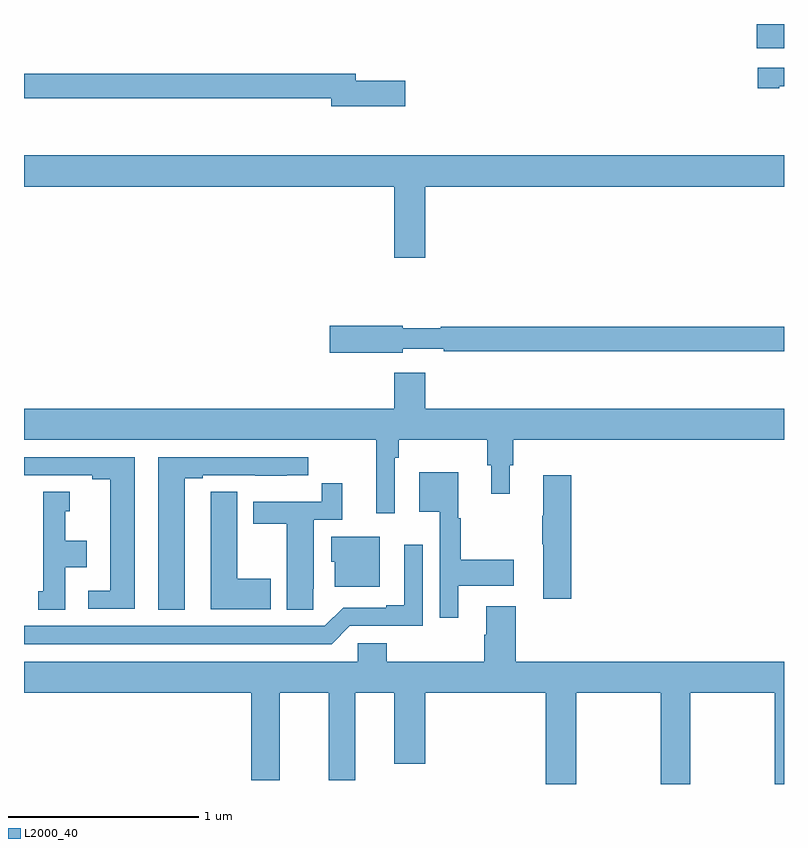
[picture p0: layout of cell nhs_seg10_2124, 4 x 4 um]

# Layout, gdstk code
import gdstk
lib = gdstk.Library(unit=1e-6, precision=1e-09)
def R(c, l, rs):  # rectangles x0, y0, x1, y1
    for r in rs: c.add(gdstk.rectangle(r[:2], r[2:], *l))
def P(c, l, *ps):  # polygons
    for p in ps: c.add(gdstk.Polygon(p, *l))
L2000_40 = (2000, 40)

nhs_seg10_2124 = lib.new_cell('nhs_seg10_2124')
R(nhs_seg10_2124, L2000_40, [(226.856,1306.373,227,1306.5)])
P(nhs_seg10_2124, L2000_40, [(226.975,1306.173),(227,1306.173),(227,1306.269),(226.863,1306.269),(226.863,1306.161),(226.975,1306.161)],
  [(225.007,1306.202),(224.746,1306.202),(224.746,1306.238),(223,1306.238),(223,1306.11),(224.618,1306.11),(224.618,1306.067),(225.007,1306.067)],
  [(225.112,1305.644),(227,1305.644),(227,1305.808),(223,1305.808),(223,1305.644),(224.948,1305.644),(224.948,1305.27),(225.112,1305.27)],
  [(224.994,1304.79),(225.208,1304.79),(225.208,1304.778),(227,1304.778),(227,1304.906),(225.194,1304.906),(225.194,1304.899),(224.994,1304.899),(224.994,1304.912),(224.61,1304.912),(224.61,1304.77),(224.994,1304.77)],
  [(224.952,1304.216),(224.972,1304.216),(224.972,1304.312),(225.439,1304.312),(225.439,1304.178),(225.458,1304.178),(225.458,1304.028),(225.556,1304.028),(225.556,1304.178),(225.575,1304.178),(225.575,1304.312),(227,1304.312),(227,1304.476),(225.112,1304.476),(225.112,1304.665),(224.948,1304.665),(224.948,1304.476),(223,1304.476),(223,1304.312),(224.855,1304.312),(224.855,1303.926),(224.952,1303.926)],
  [(223.582,1304.22),(223,1304.22),(223,1304.124),(223.358,1304.124),(223.358,1304.104),(223.454,1304.104),(223.454,1303.518),(223.338,1303.518),(223.338,1303.422),(223.582,1303.422)],
  [(223.846,1304.109),(223.942,1304.109),(223.942,1304.124),(224.218,1304.124),(224.218,1304.123),(224.384,1304.123),(224.384,1304.124),(224.497,1304.124),(224.497,1304.22),(223.706,1304.22),(223.706,1303.417),(223.846,1303.417)],
  [(225.286,1303.544),(225.577,1303.544),(225.577,1303.679),(225.298,1303.679),(225.298,1303.899),(225.286,1303.899),(225.286,1304.14),(225.08,1304.14),(225.08,1303.934),(225.189,1303.934),(225.189,1303.374),(225.286,1303.374)],
  [(225.881,1304.125),(225.734,1304.125),(225.734,1303.912),(225.727,1303.912),(225.727,1303.762),(225.734,1303.762),(225.734,1303.476),(225.881,1303.476)],
  [(224.523,1303.528),(224.524,1303.528),(224.524,1303.89),(224.675,1303.89),(224.675,1304.083),(224.566,1304.083),(224.566,1303.986),(224.207,1303.986),(224.207,1303.87),(224.384,1303.87),(224.384,1303.417),(224.523,1303.417)],
  [(224.299,1303.581),(224.122,1303.581),(224.122,1304.039),(223.983,1304.039),(223.983,1303.931),(223.982,1303.931),(223.982,1303.421),(224.299,1303.421)],
  [(223.216,1303.64),(223.33,1303.64),(223.33,1303.78),(223.216,1303.78),(223.216,1303.935),(223.24,1303.935),(223.24,1304.038),(223.1,1304.038),(223.1,1303.515),(223.076,1303.515),(223.076,1303.417),(223.216,1303.417)],
  [(224.872,1303.801),(224.618,1303.801),(224.618,1303.671),(224.636,1303.671),(224.636,1303.538),(224.872,1303.538)],
  [(224.715,1303.332),(225.099,1303.332),(225.099,1303.759),(225.002,1303.759),(225.002,1303.441),(224.906,1303.441),(224.906,1303.428),(224.679,1303.428),(224.583,1303.332),(223,1303.332),(223,1303.236),(224.619,1303.236)],
  [(225.906,1302.98),(226.351,1302.98),(226.351,1302.5),(226.506,1302.5),(226.506,1302.98),(226.951,1302.98),(226.951,1302.5),(227,1302.5),(227,1303.144),(225.587,1303.144),(225.587,1303.435),(225.434,1303.435),(225.434,1303.286),(225.422,1303.286),(225.422,1303.144),(224.909,1303.144),(224.909,1303.242),(224.757,1303.242),(224.757,1303.144),(223,1303.144),(223,1302.98),(224.195,1302.98),(224.195,1302.519),(224.347,1302.519),(224.347,1302.98),(224.603,1302.98),(224.603,1302.519),(224.743,1302.519),(224.743,1302.98),(224.948,1302.98),(224.948,1302.606),(225.112,1302.606),(225.112,1302.98),(225.746,1302.98),(225.746,1302.5),(225.906,1302.5)])

lib.write_gds('nhs_seg10_2124.gds')
